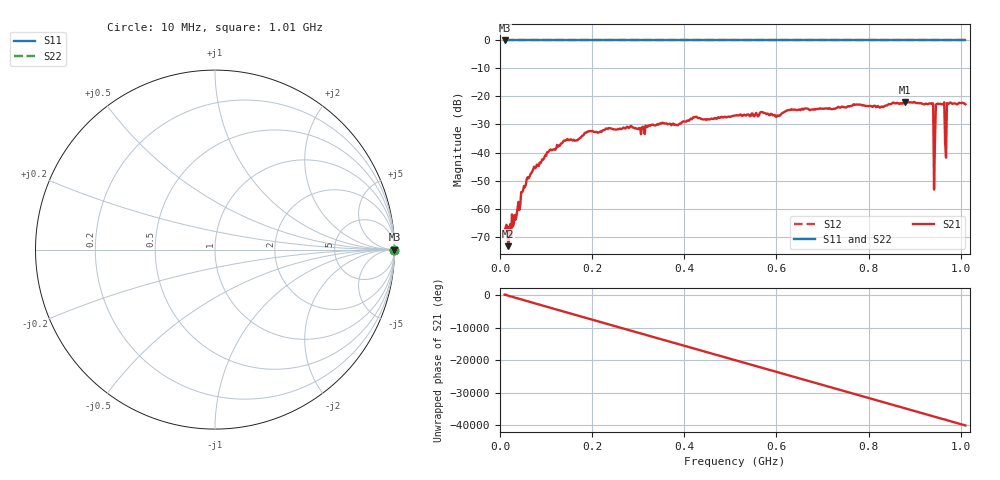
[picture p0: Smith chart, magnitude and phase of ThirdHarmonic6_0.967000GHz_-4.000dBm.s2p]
! 8/16/2025 7:15:52 AM
! C:\ANRITSUVNA\TEMP\TEMP.S2P
! CHANNEL.1
! TR.MEASUREMENT
! RAW.DATA
! RF.CORRECTION.OFF
! AVERAGING.OFF
! IF.BANDWIDTH: 5KHZ
! SWEEPTYPE:  FREQ.SWEEP(Linear)
! Reference Plane Port Info
! PORT:  PORT1  PORT2
! DISTANCE:  0  m  0  m
! TIME:  0  s  0  s
! PHASE.OFFSET:  0  deg.  0  deg.
! LOSS:  0  dB  0  dB
! REF.LOSS:  0  dB  0  dB
! REF.FREQ:  0  Hz  0  Hz
! Power Info
! POWER:  -20  dBm  -20  dBm
! EFF.POWER:  -20  dBm  -20  dBm
! SOURCE.ATTEN:  0  dB  0  dB
! TEST.ATTEN:  0  dB  0  dB
# GHZ S RI R 50.0
! FREQ.GHZ  S11RE  S11IM  S21RE  S21IM  S12RE  S12IM  S22RE  S22IM
!; PortSelection: Port_12
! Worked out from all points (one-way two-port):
!   501 points, 10 MHz to 1.01 GHz, reference 50 ohm
!   highest |S21| = -21.94 dB at 878 MHz (marker M1); lowest = -73.4 dB at 18 MHz (marker M2)
!   lowest |S11| = 0.0 dB at 10 MHz (marker M3)
!   |S11| at or under -10 dB: nowhere
!   |S22| runs from 0.0 to 0.0 dB; largest |S21 - S12| = 1.1
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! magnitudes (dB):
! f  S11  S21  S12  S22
! 10 MHz  0.0  -67.7  0.0  0.0
! 18 MHz  0.0  -73.4  0.0  0.0
! 32 MHz  0.0  -62.3  0.0  0.0
! 56 MHz  0.0  -51.6  0.0  0.0
! 76 MHz  0.0  -45.6  0.0  0.0
! 106 MHz  0.0  -39.7  0.0  0.0
! 178 MHz  0.0  -34.1  0.0  0.0
! 344 MHz  0.0  -30.0  0.0  0.0
! 510 MHz  0.0  -26.8  0.0  0.0
! 678 MHz  0.0  -24.6  0.0  0.0
! 844 MHz  0.0  -22.7  0.0  0.0
! 878 MHz  0.0  -21.9  0.0  0.0
! 936 MHz  0.0  -22.4  0.0  0.0
! 938 MHz  0.0  -22.7  0.0  0.0
! 942 MHz  0.0  -53.2  0.0  0.0
! 946 MHz  0.0  -22.9  0.0  0.0
! 950 MHz  0.0  -22.5  0.0  0.0
! 960 MHz  0.0  -22.8  0.0  0.0
! 964 MHz  0.0  -22.1  0.0  0.0
! 970 MHz  0.0  -22.4  0.0  0.0
! 974 MHz  0.0  -22.6  0.0  0.0
! 1.01 GHz  0.0  -22.8  0.0  0.0
